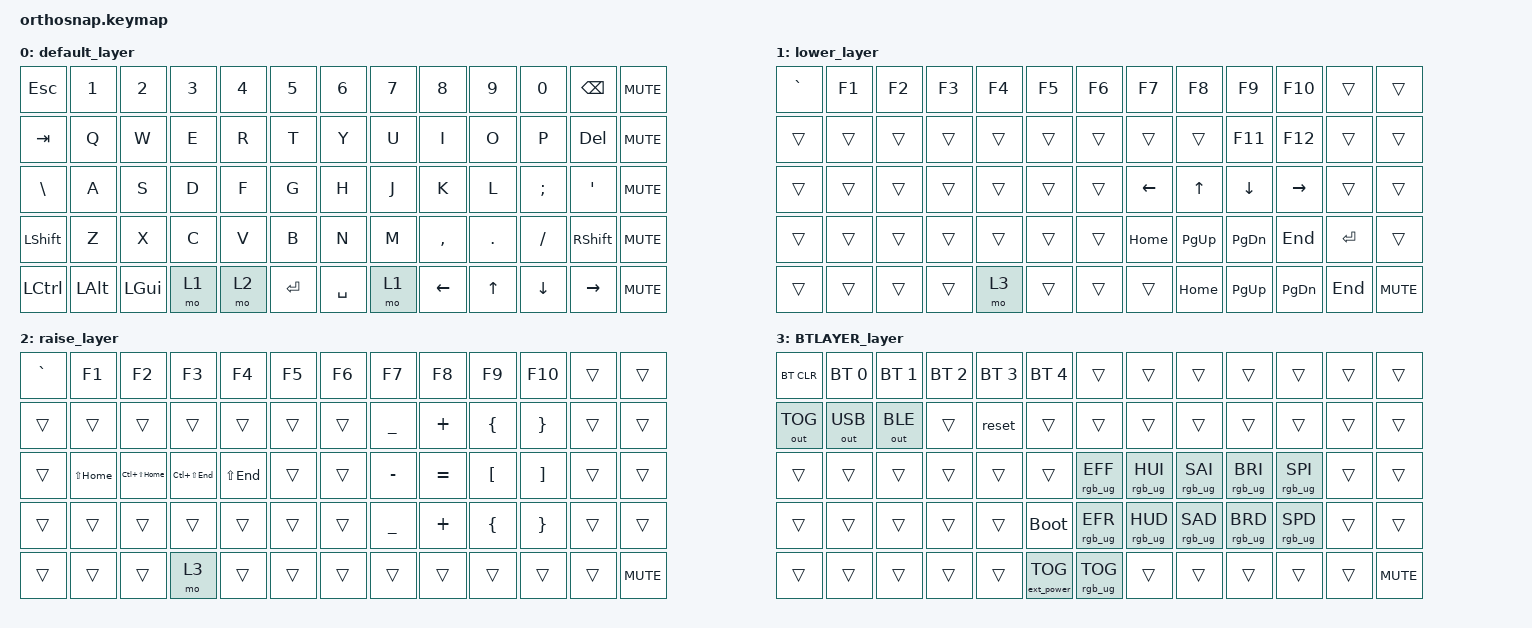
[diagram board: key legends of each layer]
/*
 * Copyright (c) 2020 The ZMK Contributors
 *
 * SPDX-License-Identifier: MIT
 */

 #include <behaviors.dtsi>
 #include <dt-bindings/zmk/keys.h>
 #include <dt-bindings/zmk/bt.h>
 #include <dt-bindings/zmk/outputs.h>
 #include <dt-bindings/zmk/rgb.h>
 #include <dt-bindings/zmk/ext_power.h>

/*
 * Temporarily here because nice nano v2 spi is not defined on ZMk Yet
 * Source: https://github.com/zmkfirmware/zmk/blob/main/app/boards/shields/reviung41/boards/nice_nano.overlay
 * GitHub Issue: https://github.com/zmkfirmware/zmk/issues/885
 */

#include <dt-bindings/led/led.h>
&spi1 {
	compatible = "nordic,nrf-spim";
	status = "okay";
	mosi-pin = <34>;
	// Unused pins, needed for SPI definition, but not used by the ws2812 driver itself.
	sck-pin = <5>;
	miso-pin = <7>;

	led_strip: ws2812@0 {
		compatible = "worldsemi,ws2812-spi";
		label = "WS2812";

		/* SPI */
		reg = <0>; /* ignored, but necessary for SPI bindings */
		spi-max-frequency = <4000000>;

		/* WS2812 */
		chain-length = <60>;
		spi-one-frame = <0x70>;
		spi-zero-frame = <0x40>;
		color-mapping = <LED_COLOR_ID_GREEN LED_COLOR_ID_RED LED_COLOR_ID_BLUE>;
	};
};

/ {
	chosen {
		zmk,underglow = &led_strip;
	};
};

/* END temporary RGB support section */

 #define DEFAULT 0
 #define LOWER  1
 #define RAISE  2
 #define BTLAYER 3

&kscan0 {
    debounce-period = <10>;
};

/ {
       keymap {
              compatible = "zmk,keymap";
 
              default_layer {
 //    -----------------------------------------------------------          -------------------------------------------------------------
 //    |  ESC    |   1    |   2     |   3     |   4     |   5    |          |   6     |   7     |   8     |   9      |   0     |  BSPC  |
 //    |  TAB    |   Q    |   W     |   E     |   R     |   T    |          |   Y     |   U     |   I     |   O      |   P     |  DEL   |
 //    |  \      |   A    |   S     |   D     |   F     |   G    |          |   H     |   J     |   K     |   L      |   ;     |   '    |
 //    |  SHIFT  |   Z    |   X     |   C     |   V     |   B    |          |   N     |   M     |   ,     |   .      |   /     |  SHIFT |
 //    |  CTRL   |  ALT   |  WIN    | LOWER   | RAISE   | SPACE  |          |  SPACE  | LOWER   |  LEFT   |  UP      |  DOWN   |  RIGHT |
                     bindings = <
       &kp ESC    &kp N1   &kp N2    &kp N3    &kp N4    &kp N5              &kp N6    &kp N7    &kp N8    &kp N9     &kp N0    &kp BSPC  &kp C_MUTE 
       &kp TAB    &kp Q    &kp W     &kp E     &kp R     &kp T               &kp Y     &kp U     &kp I     &kp O      &kp P     &kp DEL   &kp C_MUTE 
       &kp BSLH   &kp A    &kp S     &kp D     &kp F     &kp G               &kp H     &kp J     &kp K     &kp L      &kp SEMI  &kp SQT   &kp C_MUTE 
       &kp LSHFT  &kp Z    &kp X     &kp C     &kp V     &kp B               &kp N     &kp M     &kp COMMA &kp PERIOD &kp SLASH &kp RSHFT &kp C_MUTE
       &kp LCTRL  &kp LALT &kp LGUI  &mo 1     &mo 2     &kp ENTER           &kp SPACE &mo 1     &kp LEFT   &kp UP    &kp DOWN  &kp RIGHT &kp C_MUTE
                     >;
              };
              lower_layer {
 //    ---------------------------------------------------------             -----------------------------------------------------------
 //    |  `       |  F1     |  F2   |  F3     |  F4     |  F5  |             |  F6    |   F7    |   F8     |   F9    |   F10   |       |
 //    |          |         |       |         |         |      |             |        |         |          |   F11   |   F12   |       |
 //    |          |         |       |         |         |      |             |        |  LEFT   |   UP     |  DOWN   |  RIGHT  |       |
 //    |          |         |       |         |         |      |             |        |  HOME   |  PG UP   |  PG DN  |  END    | Enter |
 //    |          |         |       |         |         |      |             |        |         |  HOME    |  PG UP  |  PG DN  |  END  |
                     bindings = <
       &kp GRAVE   &kp F1   &kp F2   &kp F3    &kp F4    &kp F5              &kp F6    &kp F7    &kp F8     &kp F9    &kp F10   &trans    &trans
       &trans      &trans   &trans   &trans    &trans    &trans              &trans    &trans    &trans     &kp F11   &kp F12   &trans    &trans
       &trans      &trans   &trans   &trans    &trans    &trans              &trans    &kp LEFT  &kp UP     &kp DOWN  &kp RIGHT &trans    &trans
       &trans      &trans   &trans   &trans    &trans    &trans              &trans    &kp HOME  &kp PG_UP  &kp PG_DN &kp END   &kp ENTER &trans
       &trans      &trans   &trans   &trans    &mo 3     &trans              &trans    &trans    &kp HOME   &kp PG_UP &kp PG_DN &kp END   &kp C_MUTE
                     >;
              };
              raise_layer {
 //    -------------------------------------------------------------------------------                  --------------------------------------------------------------
 //    |   `      |  F1        |  F2            |  F3           |  F4        |  F5   |                  |  F6   |  F7     |   F8      |   F9      |  F10     |       |
 //    |          |            |                |               |            |       |                  |       |   _     |    +      |   {       |   }      |       |
 //    |          |  Sh(HOME)  |  Ct(Sh(Home))  |  Ct(Sh(End))  |  Sh(End)   |       |                  |       |   -     |    =      |   [       |   ]      |       |
 //    |          |            |                |               |            |       |                  |       |   _     |    +      |   {       |   }      |       |
 //    |BTLAYER   |            |                |               |            |       |                  |       |         |           |           |          |       |
                     bindings = <
       &kp GRAVE   &kp F1       &kp F2           &kp F3          &kp F4       &kp F5                     &kp F6  &kp F7    &kp F8     &kp F9       &kp F10    &trans &trans
       &trans      &trans       &trans           &trans          &trans       &trans                     &trans  &kp UNDER &kp PLUS   &kp LBRC     &kp RBRC   &trans &trans
       &trans      &kp LS(HOME) &kp LC(LS(HOME)) &kp LC(LS(END)) &kp LS(END)  &trans                     &trans  &kp MINUS &kp EQUAL  &kp LBKT     &kp RBKT   &trans &trans
       &trans      &trans       &trans           &trans          &trans       &trans                     &trans  &kp UNDER &kp PLUS   &kp LBRC     &kp RBRC   &trans &trans
       &trans      &trans       &trans           &mo 3           &trans       &trans                     &trans  &trans    &trans     &trans       &trans     &trans &kp C_MUTE
                     >;
              };
              BTLAYER_layer {
 //   -------------------------------------------------------------------------------------          ------------------------------------------------------------------------------------------
 //   |  BT CLR    | BT SEL0    | BT SEL1     | BT SEL2    | BT SEL3    |     BT SEL4     |          |                |               |               |               |                |      |
 //   | OUT TOG    | OUT USB    | OUT BLE     |            | Reset      |                 |          |                |               |               |               |                |      |
 //   |            |            |             |            |            |                 |          |     Eff+       |      HUI      |      SAI      |      BRI      |      SPI       |      |
 //   |            |            |             |            |            |   Bootloader    |          |     Eff-       |      HUD      |      SAD      |      BRD      |      SPD       |      |
 //   |            |            |             |            |            |   Ext Pow Tog   |          |  RGB Toggle    |               |               |               |                |      |
                     bindings = <
       &bt BT_CLR   &bt BT_SEL 0 &bt BT_SEL 1  &bt BT_SEL 2 &bt BT_SEL 3 &bt BT_SEL 4                 &trans           &trans          &trans          &trans          &trans           &trans &trans
       &out OUT_TOG &out OUT_USB &out OUT_BLE  &trans       &reset       &trans                       &trans           &trans          &trans          &trans          &trans           &trans &trans
       &trans       &trans       &trans        &trans       &trans       &trans                       &rgb_ug RGB_EFF  &rgb_ug RGB_HUI &rgb_ug RGB_SAI &rgb_ug RGB_BRI &rgb_ug RGB_SPI  &trans &trans
       &trans       &trans       &trans        &trans       &trans       &bootloader                  &rgb_ug RGB_EFR  &rgb_ug RGB_HUD &rgb_ug RGB_SAD &rgb_ug RGB_BRD &rgb_ug RGB_SPD  &trans &trans
       &trans       &trans       &trans        &trans       &trans       &ext_power EP_TOG            &rgb_ug RGB_TOG  &trans          &trans          &trans          &trans           &trans &kp C_MUTE
                     >;
              };
       };
};
